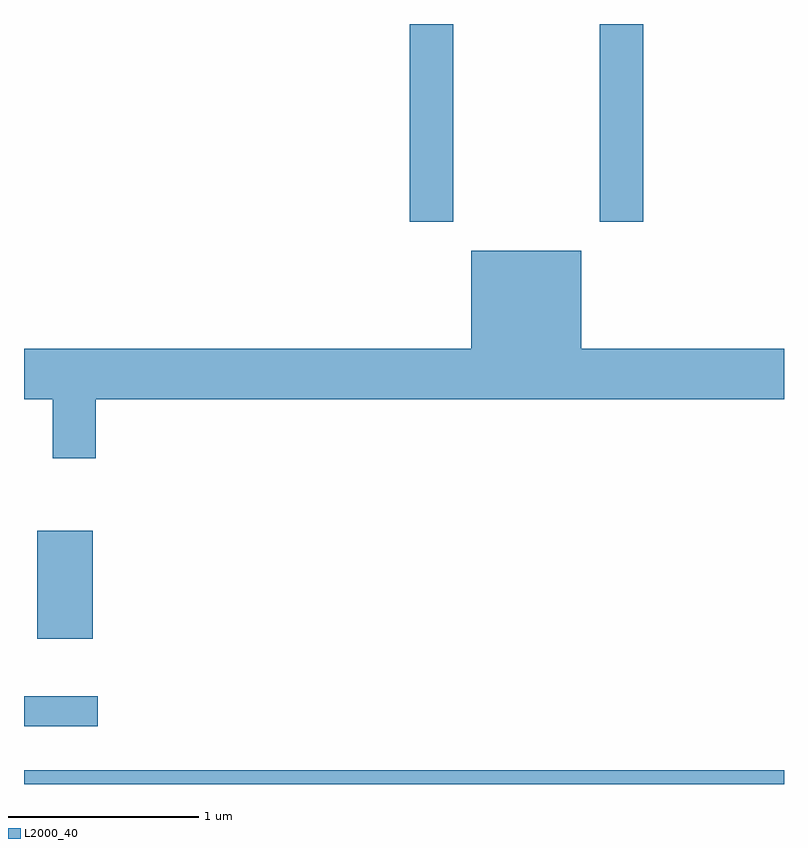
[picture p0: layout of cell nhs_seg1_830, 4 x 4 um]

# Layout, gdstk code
import gdstk
lib = gdstk.Library(unit=1e-6, precision=1e-09)
def R(c, l, rs):  # rectangles x0, y0, x1, y1
    for r in rs: c.add(gdstk.rectangle(r[:2], r[2:], *l))
def P(c, l, *ps):  # polygons
    for p in ps: c.add(gdstk.Polygon(p, *l))
L2000_40 = (2000, 40)

nhs_seg1_830 = lib.new_cell('nhs_seg1_830')
R(nhs_seg1_830, L2000_40, [(209.611,959.712,213.611,959.784), (209.611,960.016,209.998,960.174), (209.681,960.476,209.974,961.044), (211.641,962.671,211.869,963.712), (212.641,962.671,212.869,963.712)])
P(nhs_seg1_830, L2000_40, [(209.989,961.736),(213.611,961.736),(213.611,962.004),(212.544,962.004),(212.544,962.519),(211.966,962.519),(211.966,962.004),(209.611,962.004),(209.611,961.736),(209.761,961.736),(209.761,961.426),(209.989,961.426)])

lib.write_gds('nhs_seg1_830.gds')
